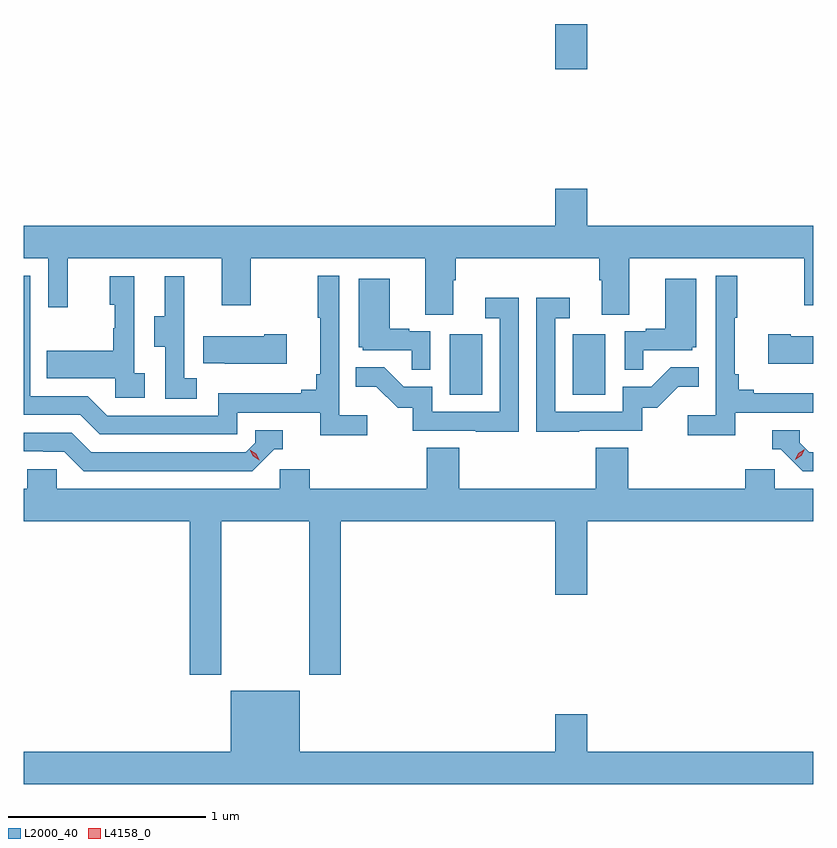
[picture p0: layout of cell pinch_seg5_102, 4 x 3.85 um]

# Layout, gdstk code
import gdstk
lib = gdstk.Library(unit=1e-6, precision=1e-09)
def R(c, l, rs):  # rectangles x0, y0, x1, y1
    for r in rs: c.add(gdstk.rectangle(r[:2], r[2:], *l))
def P(c, l, *ps):  # polygons
    for p in ps: c.add(gdstk.Polygon(p, *l))
L2000_40 = (2000, 40)
L4158_0 = (4158, 0)

pinch_seg5_102 = lib.new_cell('pinch_seg5_102')
R(pinch_seg5_102, L2000_40, [(1039.598,888.036,1039.762,888.343), (1040.222,888.036,1040.386,888.343), (1040.132,889.686,1040.296,889.915)])
P(pinch_seg5_102, L2000_40, [(1039.615,888.616),(1039.628,888.616),(1039.628,888.728),(1040.357,888.728),(1040.357,888.616),(1040.369,888.616),(1040.369,888.442),(1040.509,888.442),(1040.509,888.728),(1041.394,888.728),(1041.394,888.489),(1041.44,888.489),(1041.44,888.892),(1040.296,888.892),(1040.296,889.081),(1040.132,889.081),(1040.132,888.892),(1037.44,888.892),(1037.44,888.728),(1037.565,888.728),(1037.565,888.48),(1037.663,888.48),(1037.663,888.728),(1038.443,888.728),(1038.443,888.489),(1038.591,888.489),(1038.591,888.728),(1039.475,888.728),(1039.475,888.442),(1039.615,888.442)],
  [(1039.18,887.932),(1039.038,887.932),(1039.038,888.64),(1038.93,888.64),(1038.93,888.427),(1038.941,888.427),(1038.941,888.139),(1038.922,888.139),(1038.922,888.062),(1038.845,888.062),(1038.845,888.043),(1038.426,888.043),(1038.426,887.931),(1037.862,887.931),(1037.763,888.03),(1037.472,888.03),(1037.472,888.639),(1037.44,888.639),(1037.44,887.934),(1037.726,887.934),(1037.825,887.835),(1038.522,887.835),(1038.522,887.946),(1038.941,887.946),(1038.941,887.83),(1039.18,887.83)],
  [(1041.044,887.946),(1041.44,887.946),(1041.44,888.043),(1041.139,888.043),(1041.139,888.062),(1041.062,888.062),(1041.062,888.139),(1041.043,888.139),(1041.043,888.427),(1041.055,888.427),(1041.055,888.64),(1040.946,888.64),(1040.946,887.932),(1040.805,887.932),(1040.805,887.83),(1041.044,887.83)],
  [(1038.052,888.146),(1038,888.146),(1038,888.637),(1037.876,888.637),(1037.876,888.492),(1037.902,888.492),(1037.902,888.374),(1037.892,888.374),(1037.892,888.259),(1037.557,888.259),(1037.557,888.119),(1037.904,888.119),(1037.904,888.021),(1038.052,888.021)],
  [(1038.316,888.119),(1038.252,888.119),(1038.252,888.423),(1038.254,888.423),(1038.254,888.637),(1038.155,888.637),(1038.155,888.435),(1038.101,888.435),(1038.101,888.28),(1038.156,888.28),(1038.156,888.016),(1038.316,888.016)],
  [(1039.5,888.357),(1039.394,888.357),(1039.394,888.37),(1039.294,888.37),(1039.294,888.625),(1039.136,888.625),(1039.136,888.276),(1039.158,888.276),(1039.158,888.261),(1039.405,888.261),(1039.405,888.163),(1039.5,888.163)],
  [(1040.579,888.261),(1040.826,888.261),(1040.826,888.276),(1040.848,888.276),(1040.848,888.625),(1040.69,888.625),(1040.69,888.37),(1040.591,888.37),(1040.591,888.357),(1040.484,888.357),(1040.484,888.163),(1040.579,888.163)],
  [(1040.255,887.853),(1040.574,887.853),(1040.574,887.97),(1040.65,887.97),(1040.757,888.077),(1040.861,888.077),(1040.861,888.176),(1040.717,888.176),(1040.619,888.078),(1040.475,888.078),(1040.475,887.949),(1040.133,887.949),(1040.133,888.423),(1040.206,888.423),(1040.206,888.529),(1040.037,888.529),(1040.037,887.848),(1040.255,887.848)],
  [(1039.947,888.529),(1039.779,888.529),(1039.779,888.423),(1039.851,888.423),(1039.851,887.949),(1039.509,887.949),(1039.509,888.078),(1039.365,888.078),(1039.267,888.176),(1039.123,888.176),(1039.123,888.077),(1039.227,888.077),(1039.334,887.97),(1039.411,887.97),(1039.411,887.853),(1039.729,887.853),(1039.729,887.848),(1039.947,887.848)],
  [(1038.772,888.342),(1038.659,888.342),(1038.659,888.334),(1038.349,888.334),(1038.349,888.197),(1038.457,888.197),(1038.457,888.194),(1038.772,888.194)],
  [(1041.44,888.334),(1041.325,888.334),(1041.325,888.342),(1041.213,888.342),(1041.213,888.194),(1041.44,888.194)],
  [(1041.44,887.745),(1041.42,887.745),(1041.372,887.793),(1041.372,887.856),(1041.233,887.856),(1041.233,887.76),(1041.276,887.76),(1041.387,887.649),(1041.44,887.649)],
  [(1038.708,887.76),(1038.751,887.76),(1038.751,887.856),(1038.612,887.856),(1038.612,887.793),(1038.564,887.745),(1037.781,887.745),(1037.682,887.844),(1037.44,887.844),(1037.44,887.751),(1037.538,887.751),(1037.538,887.748),(1037.645,887.748),(1037.744,887.649),(1038.597,887.649)],
  [(1038.441,887.396),(1038.886,887.396),(1038.886,886.617),(1039.046,886.617),(1039.046,887.396),(1040.132,887.396),(1040.132,887.022),(1040.296,887.022),(1040.296,887.396),(1041.44,887.396),(1041.44,887.56),(1041.246,887.56),(1041.246,887.658),(1041.095,887.658),(1041.095,887.56),(1040.504,887.56),(1040.504,887.768),(1040.339,887.768),(1040.339,887.56),(1039.646,887.56),(1039.646,887.768),(1039.481,887.768),(1039.481,887.56),(1038.89,887.56),(1038.89,887.658),(1038.738,887.658),(1038.738,887.56),(1037.607,887.56),(1037.607,887.658),(1037.457,887.658),(1037.457,887.56),(1037.44,887.56),(1037.44,887.396),(1038.281,887.396),(1038.281,886.617),(1038.441,886.617)],
  [(1041.44,886.228),(1040.296,886.228),(1040.296,886.417),(1040.132,886.417),(1040.132,886.228),(1038.838,886.228),(1038.838,886.537),(1038.488,886.537),(1038.488,886.228),(1037.44,886.228),(1037.44,886.064),(1041.44,886.064)])
P(pinch_seg5_102, L4158_0, [(1041.348,887.708),(1041.348,887.708),(1041.365,887.74),(1041.396,887.759),(1041.396,887.759),(1041.396,887.759),(1041.379,887.727),(1041.348,887.708)],
  [(1038.633,887.705),(1038.602,887.725),(1038.586,887.758),(1038.586,887.758),(1038.586,887.758),(1038.617,887.738),(1038.634,887.705),(1038.634,887.705)])

lib.write_gds('pinch_seg5_102.gds')
